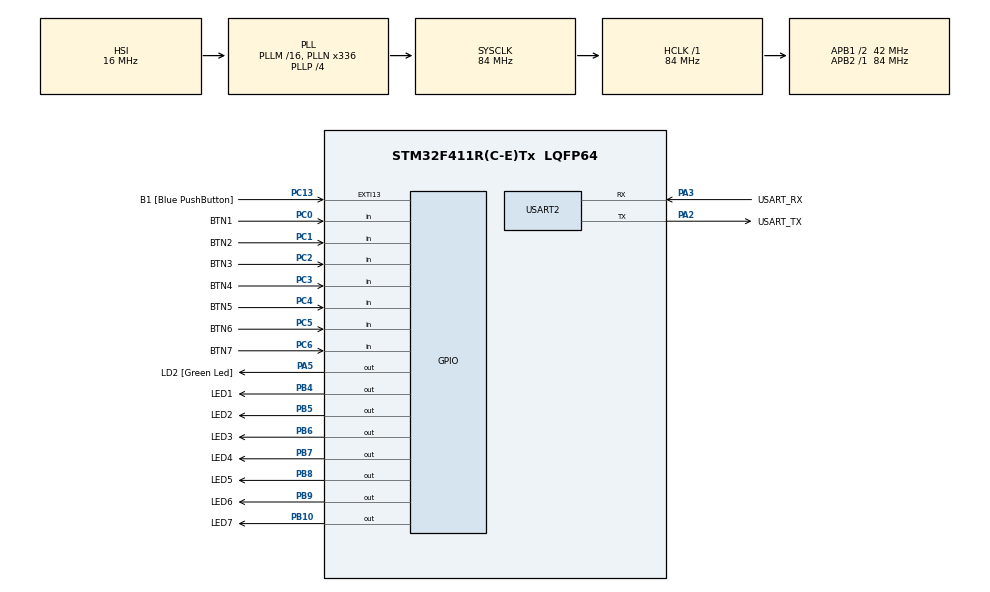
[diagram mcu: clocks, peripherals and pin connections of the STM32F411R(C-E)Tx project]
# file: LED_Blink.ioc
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Mcu.Family=STM32F4
Mcu.Name=STM32F411R(C-E)Tx
Mcu.Package=LQFP64
NVIC.PriorityGroup=NVIC_PRIORITYGROUP_0
PA13.GPIO_Label=TMS
PA13.Mode=Serial_Wire
PA13.Signal=SYS_JTMS-SWDIO
PA14.GPIO_Label=TCK
PA14.Mode=Serial_Wire
PA14.Signal=SYS_JTCK-SWCLK
PA2.GPIO_Label=USART_TX
PA2.Mode=Asynchronous
PA2.Signal=USART2_TX
PA3.GPIO_Label=USART_RX
PA3.Mode=Asynchronous
PA3.Signal=USART2_RX
PA5.GPIO_Label=LD2 [Green Led]
PA5.Signal=GPIO_Output
PB10.GPIO_Label=LED7
PB10.Signal=GPIO_Output
PB3.GPIO_Label=SWO
PB3.Signal=SYS_JTDO-SWO
PB4.GPIO_Label=LED1
PB4.Signal=GPIO_Output
PB5.GPIO_Label=LED2
PB5.Signal=GPIO_Output
PB6.GPIO_Label=LED3
PB6.Signal=GPIO_Output
PB7.GPIO_Label=LED4
PB7.Signal=GPIO_Output
PB8.GPIO_Label=LED5
PB8.Signal=GPIO_Output
PB9.GPIO_Label=LED6
PB9.Signal=GPIO_Output
PC0.GPIO_Label=BTN1
PC0.Signal=GPIO_Input
PC1.GPIO_Label=BTN2
PC1.Signal=GPIO_Input
PC13-ANTI_TAMP.GPIO_Label=B1 [Blue PushButton]
PC13-ANTI_TAMP.GPIO_ModeDefaultEXTI=GPIO_MODE_IT_FALLING
PC13-ANTI_TAMP.Signal=GPXTI13
PC14-OSC32_IN.Signal=RCC_OSC32_IN
PC15-OSC32_OUT.Signal=RCC_OSC32_OUT
PC2.GPIO_Label=BTN3
PC2.Signal=GPIO_Input
PC3.GPIO_Label=BTN4
PC3.Signal=GPIO_Input
PC4.GPIO_Label=BTN5
PC4.Signal=GPIO_Input
PC5.GPIO_Label=BTN6
PC5.Signal=GPIO_Input
PC6.GPIO_Label=BTN7
PC6.Signal=GPIO_Input
PH0\ -\ OSC_IN.Signal=RCC_OSC_IN
PH1\ -\ OSC_OUT.Signal=RCC_OSC_OUT
ProjectManager.HeapSize=0x200
ProjectManager.StackSize=0x400
ProjectManager.TargetToolchain=STM32CubeIDE
RCC.48MHZClocksFreq_Value=84000000
RCC.AHBFreq_Value=84000000
RCC.APB1CLKDivider=RCC_HCLK_DIV2
RCC.APB1Freq_Value=42000000
RCC.APB1TimFreq_Value=84000000
RCC.APB2Freq_Value=84000000
RCC.APB2TimFreq_Value=84000000
RCC.CortexFreq_Value=84000000
RCC.FLatency-AdvancedSettings=FLASH_LATENCY_2
RCC.HCLKFreq_Value=84000000
RCC.HSE_VALUE=8000000
RCC.HSI_VALUE=16000000
RCC.LSE_VALUE=32768
RCC.PLLN=336
RCC.PLLP=RCC_PLLP_DIV4
RCC.SYSCLKFreq_VALUE=84000000
RCC.SYSCLKSource=RCC_SYSCLKSOURCE_PLLCLK
RCC.VCOOutputFreq_Value=336000000
USART2.VirtualMode=VM_ASYNC
board=NUCLEO-F411RE

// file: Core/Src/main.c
/* USER CODE BEGIN Header */
/**
  ******************************************************************************
  * @file           : main.c
  * @brief          : Main program body
  ******************************************************************************
  * @attention
  *
  * Copyright (c) 2025 STMicroelectronics.
  * All rights reserved.
  *
  * This software is licensed under terms that can be found in the LICENSE file
  * in the root directory of this software component.
  * If no LICENSE file comes with this software, it is provided AS-IS.
  *
  ******************************************************************************
  */
/* USER CODE END Header */
#include "main.h"

/* USER CODE BEGIN Includes */
#include <stdio.h>

/* USER CODE END Includes */

/* USER CODE BEGIN PD */
#define LOW 0
#define HIGH 1
#define LED LED6_Pin
#define BTN BTN6_Pin
#ifdef __GNUC__
/* With GCC, small printf (option LD Linker->Libraries->Small printf
   set to 'Yes') calls __io_putchar() */
#define PUTCHAR_PROTOTYPE int __io_putchar(int ch)
#else
#define PUTCHAR_PROTOTYPE int fputc(int ch, FILE *f)
#endif /* __GNUC__ */
/* USER CODE END PD */

UART_HandleTypeDef huart2;

void SystemClock_Config(void);
static void MX_GPIO_Init(void);
static void MX_USART2_UART_Init(void);

int main(void)
{

  /* USER CODE BEGIN 1 */
	int buttonState = 0, buttonStateOld = 0, buttonFlag = 0, cnt = 0;
  /* USER CODE END 1 */

  /* MCU Configuration--------------------------------------------------------*/

  /* Reset of all peripherals, Initializes the Flash interface and the Systick. */
  HAL_Init();

  /* Configure the system clock */
  SystemClock_Config();

  /* Initialize all configured peripherals */
  MX_GPIO_Init();
  MX_USART2_UART_Init();
  /* USER CODE BEGIN 2 */
  printf("main() start\r\n");
  /* USER CODE END 2 */

  /* Infinite loop */
  /* USER CODE BEGIN WHILE */
  while (1)
  {
#if 0
	  HAL_GPIO_WritePin(GPIOA, GPIO_PIN_5, GPIO_PIN_SET);
	  HAL_Delay(1000);
	  HAL_GPIO_WritePin(GPIOA, GPIO_PIN_5, GPIO_PIN_RESET);
	  HAL_Delay(1000);
#endif
#if 0
	  HAL_GPIO_TogglePin(LD2_GPIO_Port, LD2_Pin);
	  HAL_Delay(1000);
#endif
#if 0
	  buttonState = !(HAL_GPIO_ReadPin(GPIOC, GPIO_PIN_13));
	  if(buttonState != buttonStateOld)
	    {
	      if(buttonState)
	      {
	        buttonFlag = !buttonFlag;
//	        Serial.print("buttonFlag : ");
//	        Serial.println(buttonFlag);
	        printf("buttonFlag : %d\r\n", buttonFlag);
	        printf("LED : %d\r\n", LED5_Pin);
	        // check if the pushbutton is pressed. If it is, the buttonState is HIGH:
	        if (buttonFlag == HIGH) {
	          // turn LED on:
	          //digitalWrite(ledPin, 1);
	        	HAL_GPIO_WritePin(GPIOA, GPIO_PIN_5, GPIO_PIN_SET);
	        	HAL_GPIO_WritePin(GPIOB, LED5_Pin, GPIO_PIN_SET);

	        } else {
	          // turn LED off:
	          //digitalWrite(ledPin, 0);
	        	HAL_GPIO_WritePin(GPIOA, GPIO_PIN_5, GPIO_PIN_RESET);
	        	HAL_GPIO_WritePin(GPIOB, LED5_Pin, GPIO_PIN_RESET);
	        }
//	        Serial.print("cnt : ");
//	        Serial.println(cnt++);
	        printf("cnt : %d \r\n", cnt++);
	      }
	      buttonStateOld = buttonState;
	    }
#endif

	  buttonState = !(HAL_GPIO_ReadPin(GPIOC, BTN));
	  if(buttonState != buttonStateOld)
	  	    {
	  	      if(buttonState)
	  	      {
	  	        buttonFlag = !buttonFlag;
	  //	        Serial.print("buttonFlag : ");
	  //	        Serial.println(buttonFlag);
	  	        printf("buttonFlag : %d\r\n", buttonFlag);
	  	        printf("LED : %d\r\n", LED);
	  	        // check if the pushbutton is pressed. If it is, the buttonState is HIGH:
	  	        if (buttonFlag == HIGH) {
	  	          // turn LED on:
	  	          //digitalWrite(ledPin, 1);
	  	        	HAL_GPIO_WritePin(GPIOB, LED, GPIO_PIN_SET);

	  	        } else {
	  	          // turn LED off:
	  	          //digitalWrite(ledPin, 0);
	  	        	HAL_GPIO_WritePin(GPIOB, LED, GPIO_PIN_RESET);
	  	        }
	  //	        Serial.print("cnt : ");
	  //	        Serial.println(cnt++);
	  	        printf("cnt : %d \r\n", cnt++);
	  	      }
	  	      buttonStateOld = buttonState;
	  	    }

#if 0
	  button_state = HAL_GPIO_ReadPin(GPIOC, GPIO_PIN_13);
	  HAL_GPIO_WritePin(GPIOA, GPIO_PIN_5, !button_state);
#endif
    /* USER CODE END WHILE */

  }
}

void SystemClock_Config(void)
{
  RCC_OscInitTypeDef RCC_OscInitStruct = {0};
  RCC_ClkInitTypeDef RCC_ClkInitStruct = {0};

  /** Configure the main internal regulator output voltage
  */
  __HAL_RCC_PWR_CLK_ENABLE();
  __HAL_PWR_VOLTAGESCALING_CONFIG(PWR_REGULATOR_VOLTAGE_SCALE1);

  /** Initializes the RCC Oscillators according to the specified parameters
  * in the RCC_OscInitTypeDef structure.
  */
  RCC_OscInitStruct.OscillatorType = RCC_OSCILLATORTYPE_HSI;
  RCC_OscInitStruct.HSIState = RCC_HSI_ON;
  RCC_OscInitStruct.HSICalibrationValue = RCC_HSICALIBRATION_DEFAULT;
  RCC_OscInitStruct.PLL.PLLState = RCC_PLL_ON;
  RCC_OscInitStruct.PLL.PLLSource = RCC_PLLSOURCE_HSI;
  RCC_OscInitStruct.PLL.PLLM = 16;
  RCC_OscInitStruct.PLL.PLLN = 336;
  RCC_OscInitStruct.PLL.PLLP = RCC_PLLP_DIV4;
  RCC_OscInitStruct.PLL.PLLQ = 4;
  if (HAL_RCC_OscConfig(&RCC_OscInitStruct) != HAL_OK)
  {
    Error_Handler();
  }

  /** Initializes the CPU, AHB and APB buses clocks
  */
  RCC_ClkInitStruct.ClockType = RCC_CLOCKTYPE_HCLK|RCC_CLOCKTYPE_SYSCLK
                              |RCC_CLOCKTYPE_PCLK1|RCC_CLOCKTYPE_PCLK2;
  RCC_ClkInitStruct.SYSCLKSource = RCC_SYSCLKSOURCE_PLLCLK;
  RCC_ClkInitStruct.AHBCLKDivider = RCC_SYSCLK_DIV1;
  RCC_ClkInitStruct.APB1CLKDivider = RCC_HCLK_DIV2;
  RCC_ClkInitStruct.APB2CLKDivider = RCC_HCLK_DIV1;

  if (HAL_RCC_ClockConfig(&RCC_ClkInitStruct, FLASH_LATENCY_2) != HAL_OK)
  {
    Error_Handler();
  }
}

static void MX_USART2_UART_Init(void)
{

  huart2.Instance = USART2;
  huart2.Init.BaudRate = 115200;
  huart2.Init.WordLength = UART_WORDLENGTH_8B;
  huart2.Init.StopBits = UART_STOPBITS_1;
  huart2.Init.Parity = UART_PARITY_NONE;
  huart2.Init.Mode = UART_MODE_TX_RX;
  huart2.Init.HwFlowCtl = UART_HWCONTROL_NONE;
  huart2.Init.OverSampling = UART_OVERSAMPLING_16;
  if (HAL_UART_Init(&huart2) != HAL_OK)
  {
    Error_Handler();
  }

}

static void MX_GPIO_Init(void)
{
  GPIO_InitTypeDef GPIO_InitStruct = {0};

  /* GPIO Ports Clock Enable */
  __HAL_RCC_GPIOC_CLK_ENABLE();
  __HAL_RCC_GPIOH_CLK_ENABLE();
  __HAL_RCC_GPIOA_CLK_ENABLE();
  __HAL_RCC_GPIOB_CLK_ENABLE();

  /*Configure GPIO pin Output Level */
  HAL_GPIO_WritePin(LD2_GPIO_Port, LD2_Pin, GPIO_PIN_RESET);

  /*Configure GPIO pin Output Level */
  HAL_GPIO_WritePin(GPIOB, LED7_Pin|LED1_Pin|LED2_Pin|LED3_Pin
                          |LED4_Pin|LED5_Pin|LED6_Pin, GPIO_PIN_RESET);

  /*Configure GPIO pin : B1_Pin */
  GPIO_InitStruct.Pin = B1_Pin;
  GPIO_InitStruct.Mode = GPIO_MODE_IT_FALLING;
  GPIO_InitStruct.Pull = GPIO_NOPULL;
  HAL_GPIO_Init(B1_GPIO_Port, &GPIO_InitStruct);

  /*Configure GPIO pins : BTN1_Pin BTN2_Pin BTN3_Pin BTN4_Pin
                           BTN5_Pin BTN6_Pin BTN7_Pin */
  GPIO_InitStruct.Pin = BTN1_Pin|BTN2_Pin|BTN3_Pin|BTN4_Pin
                          |BTN5_Pin|BTN6_Pin|BTN7_Pin;
  GPIO_InitStruct.Mode = GPIO_MODE_INPUT;
  GPIO_InitStruct.Pull = GPIO_NOPULL;
  HAL_GPIO_Init(GPIOC, &GPIO_InitStruct);

  /*Configure GPIO pin : LD2_Pin */
  GPIO_InitStruct.Pin = LD2_Pin;
  GPIO_InitStruct.Mode = GPIO_MODE_OUTPUT_PP;
  GPIO_InitStruct.Pull = GPIO_NOPULL;
  GPIO_InitStruct.Speed = GPIO_SPEED_FREQ_LOW;
  HAL_GPIO_Init(LD2_GPIO_Port, &GPIO_InitStruct);

  /*Configure GPIO pins : LED7_Pin LED1_Pin LED2_Pin LED3_Pin
                           LED4_Pin LED5_Pin LED6_Pin */
  GPIO_InitStruct.Pin = LED7_Pin|LED1_Pin|LED2_Pin|LED3_Pin
                          |LED4_Pin|LED5_Pin|LED6_Pin;
  GPIO_InitStruct.Mode = GPIO_MODE_OUTPUT_PP;
  GPIO_InitStruct.Pull = GPIO_NOPULL;
  GPIO_InitStruct.Speed = GPIO_SPEED_FREQ_LOW;
  HAL_GPIO_Init(GPIOB, &GPIO_InitStruct);

}

/* USER CODE BEGIN 4 */
/**
  * @brief  Retargets the C library printf function to the USART.
  * @param  None
  * @retval None
  */
PUTCHAR_PROTOTYPE
{
  /* Place your implementation of fputc here */
  /* e.g. write a character to the USART6 and Loop until the end of transmission */
  HAL_UART_Transmit(&huart2, (uint8_t *)&ch, 1, 0xFFFF);

  return ch;
}
/* USER CODE END 4 */

void Error_Handler(void)
{
  __disable_irq();
  while (1)
  {
  }
}
